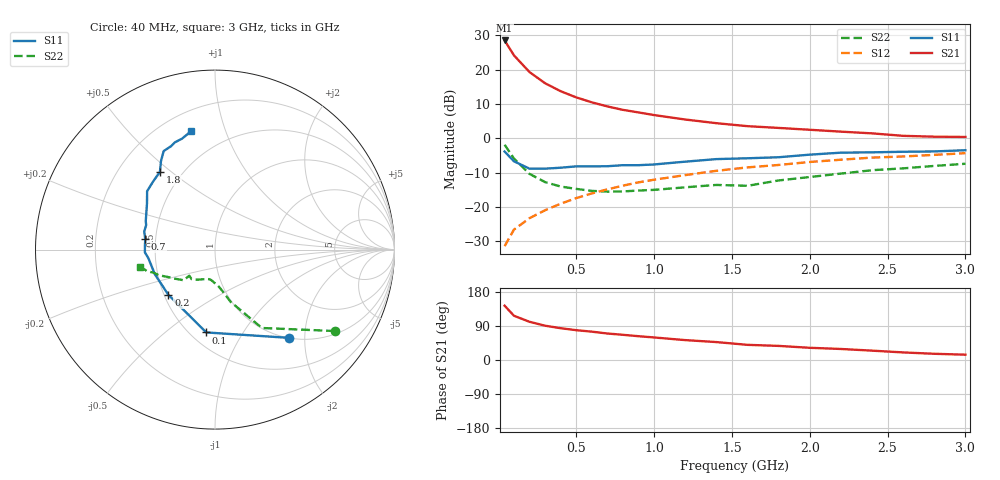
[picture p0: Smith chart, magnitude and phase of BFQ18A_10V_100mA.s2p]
! Filename:  BFQ18AE.S2P  Version:  2.0
! Philips part #: BFQ18A  Date: May 1990
! Bias condition: Vce=10V, Ic=100mA
#  MHz  S  MA  R  50
! Freq  S11  S21  S12  S22  !GUM [dB]
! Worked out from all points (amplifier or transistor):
!   21 points, 40 MHz to 3 GHz, reference 50 ohm
!   highest |S21| = 28.5 dB at 40 MHz (marker M1)
!   |S21| within 3 dB of that: start of sweep to 81.49 MHz
!   unconditionally stable (mu >= 1): 538.9 MHz to 872.8 MHz
!   at 300 MHz: K = 0.94, MSG = 18.5 dB, |S12| = -20.9 dB
!   at 1 GHz: K = 0.99, MSG = 9.4 dB, |S12| = -12.0 dB
!   at 3 GHz: K = 0.83, MSG = 2.4 dB, |S12| = -4.3 dB
!   S11 on the Smith chart (normalised r, x): 40 MHz: 1.00, -1.68; 100 MHz: 0.60, -0.70; 200 MHz: 0.53, -0.31; 700 MHz: 0.44, +0.06; 1.8 GHz: 0.38, +0.46; 3 GHz: 0.32, +0.76
40  0.643 -49.9  26.56 143.3  0.027 68.3  0.807 -34.2
100  0.464 -96.0  16.12 116.8  0.047 57.0  0.509 -59.1
200  0.362 -135.8  9.205 100.8  0.069 59.2  0.304 -73.3
300  0.362 -157.6  6.337 90.5  0.09 63.1  0.231 -80.3
400  0.374 -172.5  4.851 83.9  0.112 65.6  0.199 -85.8
500  0.391 -177.8  3.946 78.7  0.135 66.5  0.184 -91.5
600  0.391 176.3  3.342 74.8  0.158 67.0  0.172 -96.5
700  0.393 171.4  2.915 69.9  0.181 67.6  0.168 -100.4
800  0.407 165.7  2.597 66.5  0.205 67.0  0.169 -104.5
900  0.407 160.4  2.383 62.8  0.229 66.1  0.174 -108.0
1000  0.417 157.7  2.181 59.5  0.25 65.4  0.178 -111.9
1200  0.458 145.8  1.88 52.5  0.292 63.9  0.194 -120.2
1400  0.499 139.3  1.662 47.3  0.337 62.4  0.21 -128.5
1600  0.513 132.1  1.504 40.0  0.378 58.1  0.204 -134.5
1800  0.531 125.3  1.418 37.2  0.41 57.6  0.244 -135.6
2000  0.579 121.3  1.333 32.2  0.453 55.4  0.274 -143.6
2200  0.619 117.5  1.252 29.1  0.489 53.7  0.307 -150.4
2400  0.626 113.0  1.182 24.7  0.525 50.8  0.344 -155.5
2600  0.638 110.5  1.088 20.0  0.545 48.1  0.366 -159.4
2800  0.645 106.5  1.057 16.4  0.575 46.7  0.397 -162.4
3000  0.672 101.6  1.048 14.0  0.609 43.7  0.427 -167.2
